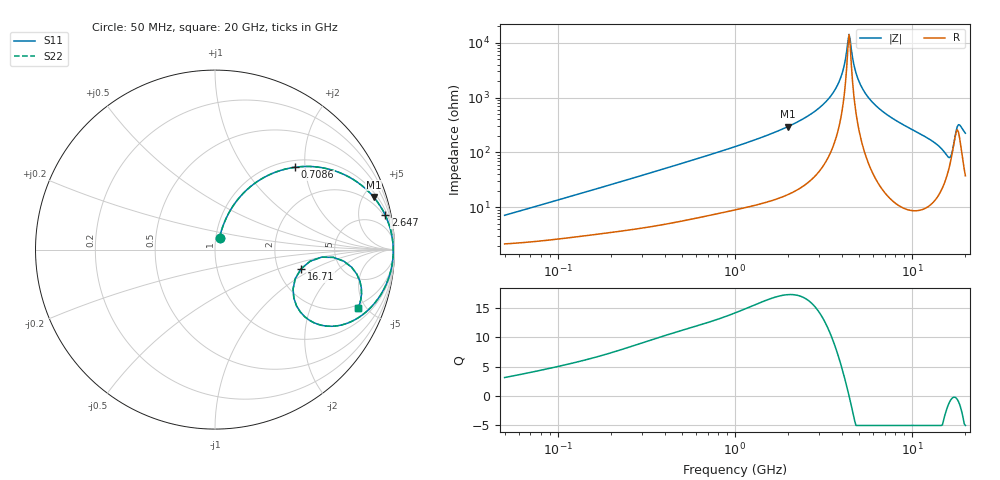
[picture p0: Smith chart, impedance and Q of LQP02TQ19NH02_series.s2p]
!Murata Part Number: LQP02TQ19NH02
!These Parameters are Measured in Series Mode Connection
!  o--[Z]--o
!Port1  Port2
!  o-------o
!Freq. Start=50[MHz] Stop=20[GHz], 401[Steps]
# Hz S RI R 50
!Freq.(Hz) S11(Real) S11(Imag) S21(Real) S21(Imag) S12(Real) S12(Imag) S22(Real) S22(Imag)
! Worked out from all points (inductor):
!   401 points, 50 MHz to 20 GHz, reference 50 ohm
!   read as one part in series: L = 21.6 nH near 51.52 MHz
!   highest Q = 17.3 at 1.992 GHz (marker M1), where L = 23.6 nH
!   self-resonance near 4.406 GHz
!   S11 on the Smith chart (normalised r, x): 50 MHz: 1.04, +0.14; 708.6 MHz: 1.14, +1.78; 2.647 GHz: 1.60, +9.71; 16.71 GHz: 2.68, -0.76; 20 GHz: 1.75, -4.42
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5e7  0.0254 0.0652  0.9746 -0.0652  0.9746 -0.0652  0.0254 0.0652
1.364002e8  0.0574 0.164  0.9426 -0.164  0.9426 -0.164  0.0574 0.164
3.721004e8  0.2051 0.3569  0.7949 -0.3569  0.7949 -0.3569  0.2051 0.3569
7.08568e8  0.4472 0.4591  0.5528 -0.4591  0.5528 -0.4591  0.4472 0.4591
1e9  0.6112 0.4535  0.3888 -0.4535  0.3888 -0.4535  0.6112 0.4535
1.99176e9  0.884 0.2926  0.116 -0.2926  0.116 -0.2926  0.884 0.2926
2.647493e9  0.9484 0.1922  0.0516 -0.1922  0.0516 -0.1922  0.9484 0.1922
2.728004e9  0.9535 0.1812  0.0465 -0.1812  0.0465 -0.1812  0.9535 0.1812
3.736399e9  0.9878 0.0633  0.0122 -0.0633  0.0122 -0.0633  0.9878 0.0633
4.026975e9  0.9912 0.0348  0.0088 -0.0348  0.0088 -0.0348  0.9912 0.0348
4.405649e9  0.993 0.000375  0.00703 -0.000375  0.00703 -0.000375  0.993 0.000375
4.539627e9  0.993 -0.0112  0.00701 0.0112  0.00701 0.0112  0.993 -0.0112
4.81993e9  0.9922 -0.0343  0.00782 0.0343  0.00782 0.0343  0.9922 -0.0343
5.273168e9  0.9888 -0.0693  0.0112 0.0693  0.0112 0.0693  0.9888 -0.0693
7.442007e9  0.9479 -0.2066  0.0521 0.2066  0.0521 0.2066  0.9479 -0.2066
1.098561e10  0.8215 -0.3636  0.1785 0.3636  0.1785 0.3636  0.8215 -0.3636
1.396067e10  0.6338 -0.4271  0.3662 0.4271  0.3662 0.4271  0.6338 -0.4271
1.527346e10  0.4998 -0.3737  0.5002 0.3737  0.5002 0.3737  0.4998 -0.3737
1.670968e10  0.479 -0.1076  0.521 0.1076  0.521 0.1076  0.479 -0.1076
1.747767e10  0.6595 -0.0433  0.3405 0.0433  0.3405 0.0433  0.6595 -0.0433
1.828096e10  0.7902 -0.1367  0.2098 0.1367  0.2098 0.1367  0.7902 -0.1367
2e10  0.7969 -0.3265  0.2031 0.3265  0.2031 0.3265  0.7969 -0.3265
